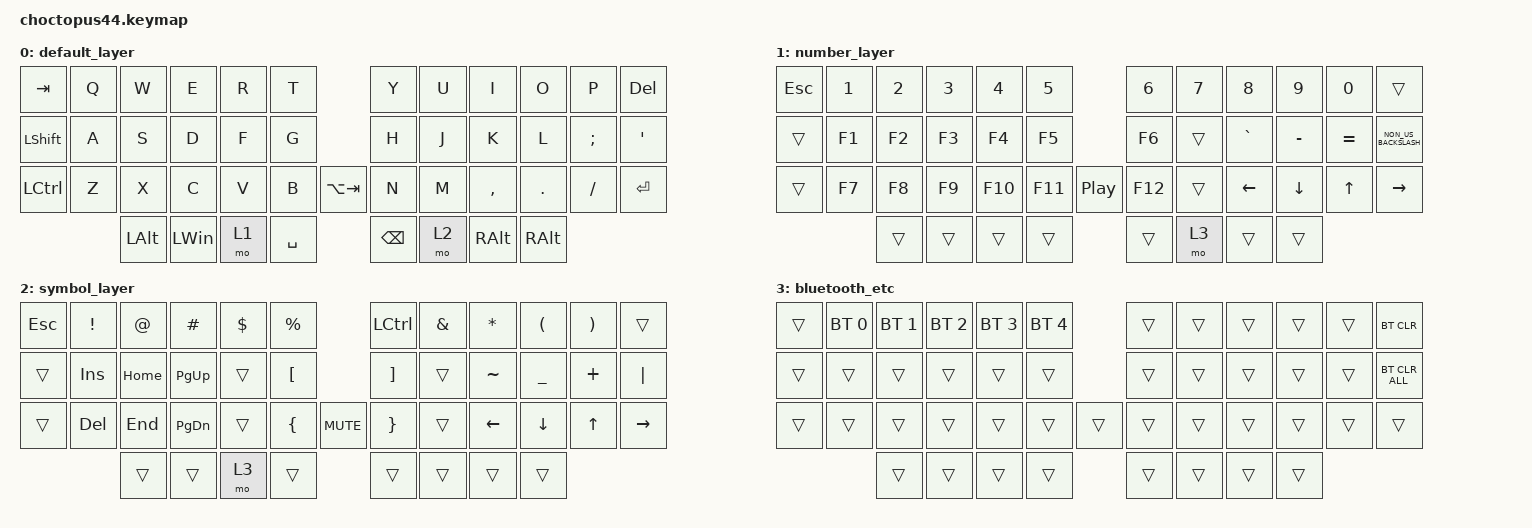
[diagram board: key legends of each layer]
/*
 * Copyright (c) 2021 The ZMK Contributors
 *
 * SPDX-License-Identifier: MIT
 */

#include <behaviors.dtsi>
#include <dt-bindings/zmk/bt.h>
#include <dt-bindings/zmk/keys.h>

&mt { tapping-term-ms = <400>; };

/ {
    keymap {
        compatible = "zmk,keymap";

        default_layer {
            bindings = <
&kp TAB         &kp Q  &kp W         &kp E         &kp R  &kp T                   &kp Y     &kp U  &kp I          &kp O     &kp P     &kp DELETE
&kp LEFT_SHIFT  &kp A  &kp S         &kp D         &kp F  &kp G                   &kp H     &kp J  &kp K          &kp L     &kp SEMI  &kp SQT
&kp LCTRL       &kp Z  &kp X         &kp C         &kp V  &kp B      &kp LA(TAB)  &kp N     &kp M  &kp COMMA      &kp DOT   &kp FSLH  &kp ENTER
                       &kp LEFT_ALT  &kp LEFT_WIN  &mo 1  &kp SPACE               &kp BSPC  &mo 2  &kp RIGHT_ALT  &kp RALT
            >;
        };

        number_layer {
            bindings = <
&kp ESCAPE  &kp N1  &kp N2  &kp N3  &kp N4   &kp N5                     &kp N6   &kp N7  &kp N8          &kp N9          &kp N0        &trans
&trans      &kp F1  &kp F2  &kp F3  &kp F4   &kp F5                     &kp F6   &trans  &kp GRAVE       &kp MINUS       &kp EQUAL     &kp NON_US_BACKSLASH
&trans      &kp F7  &kp F8  &kp F9  &kp F10  &kp F11  &kp C_PLAY_PAUSE  &kp F12  &trans  &kp LEFT_ARROW  &kp DOWN_ARROW  &kp UP_ARROW  &kp RIGHT
                    &trans  &trans  &trans   &trans                     &trans   &mo 3   &trans          &trans
            >;
        };

        symbol_layer {
            bindings = <
&kp ESCAPE  &kp EXCLAMATION  &kp AT_SIGN  &kp HASH       &kp DOLLAR  &kp PERCENT                   &kp LCTRL          &kp AMPERSAND  &kp ASTERISK  &kp LEFT_PARENTHESIS  &kp RIGHT_PARENTHESIS  &trans
&trans      &kp INS          &kp HOME     &kp PG_UP      &trans      &kp LEFT_BRACKET              &kp RIGHT_BRACKET  &trans         &kp TILDE     &kp UNDER             &kp PLUS               &kp PIPE
&trans      &kp DEL          &kp END      &kp PAGE_DOWN  &trans      &kp LEFT_BRACE    &kp C_MUTE  &kp RIGHT_BRACE    &trans         &kp LEFT      &kp DOWN_ARROW        &kp UP_ARROW           &kp RIGHT
                             &trans       &trans         &mo 3       &trans                        &trans             &trans         &trans        &trans
            >;
        };

        bluetooth_etc {
            bindings = <
&trans  &bt BT_SEL 0  &bt BT_SEL 1  &bt BT_SEL 2  &bt BT_SEL 3  &bt BT_SEL 4          &trans  &trans  &trans  &trans  &trans  &bt BT_CLR
&trans  &trans        &trans        &trans        &trans        &trans                &trans  &trans  &trans  &trans  &trans  &bt BT_CLR_ALL
&trans  &trans        &trans        &trans        &trans        &trans        &trans  &trans  &trans  &trans  &trans  &trans  &trans
                      &trans        &trans        &trans        &trans                &trans  &trans  &trans  &trans
            >;
        };
    };
};
